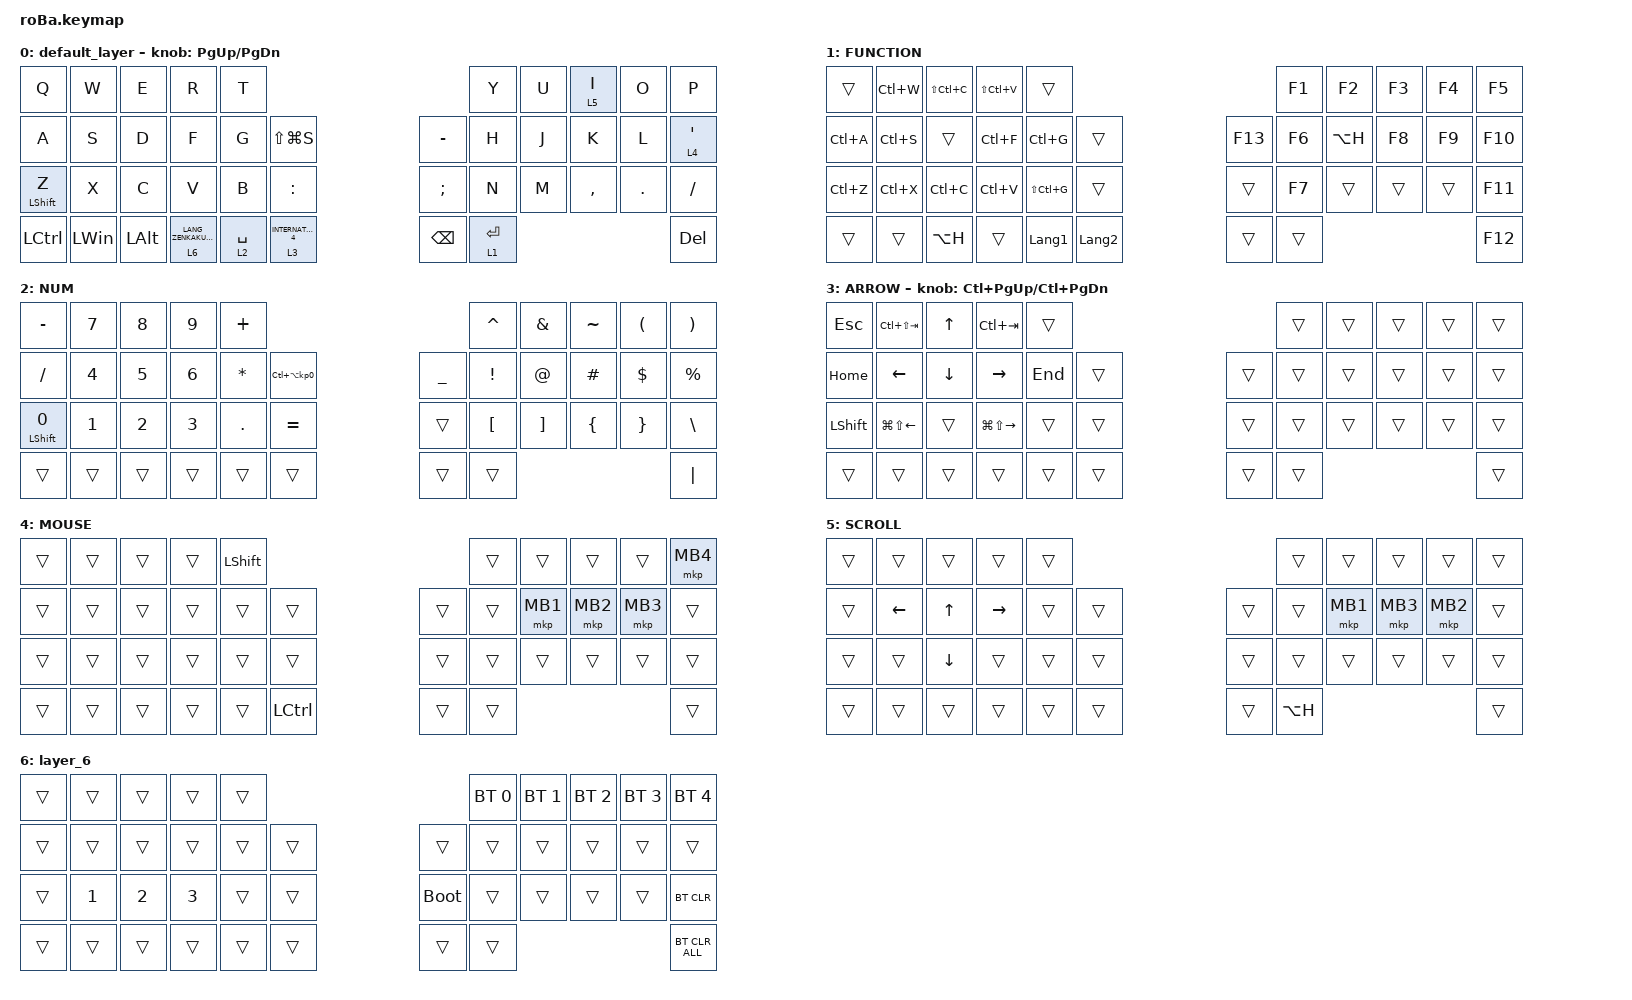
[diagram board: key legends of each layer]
#include <behaviors.dtsi>
#include <dt-bindings/zmk/bt.h>
#include <dt-bindings/zmk/keys.h>
#include <dt-bindings/zmk/pointing.h>

&mt {
    flavor = "balanced";
    quick-tap-ms = <0>;
};

/ {
    combos {
        compatible = "zmk,combos";

        tab {
            bindings = <&kp TAB>;
            key-positions = <11 12>;
        };

        shift_tab {
            bindings = <&kp LS(TAB)>;
            key-positions = <12 13>;
        };

        muhennkann {
            bindings = <&to_layer_0 INT_MUHENKAN>;
            key-positions = <11 10>;
        };

        double_quotation {
            bindings = <&kp DOUBLE_QUOTES>;
            key-positions = <20 21>;
        };

        eq {
            bindings = <&kp EQUAL>;
            key-positions = <24 25>;
        };
    };

    macros {
        to_layer_0: to_layer_0 {
            compatible = "zmk,behavior-macro-one-param";
            #binding-cells = <1>;
            bindings = <&to 0 &macro_param_1to1 &kp MACRO_PLACEHOLDER>;
            label = "TO_LAYER_0";
        };
    };

    behaviors {
        lt_to_layer_0: lt_to_layer_0 {
            compatible = "zmk,behavior-hold-tap";
            label = "LAYER_TAP_TO_0";
            bindings = <&mo>, <&to_layer_0>;

            #binding-cells = <2>;
            tapping-term-ms = <200>;
        };
    };

    keymap {
        compatible = "zmk,keymap";

        default_layer {
            bindings = <
&kp Q             &kp W         &kp E         &kp R                                 &kp T                                                             &kp Y        &kp U  &lt 5 I    &kp O    &kp P
&kp A             &kp S         &kp D         &kp F                                 &kp G        &kp LS(LG(S))                         &kp MINUS      &kp H        &kp J  &kp K      &kp L    &lt_to_layer_0 4 SQT
&mt LEFT_SHIFT Z  &kp X         &kp C         &kp V                                 &kp B        &kp COLON                             &kp SEMICOLON  &kp N        &kp M  &kp COMMA  &kp DOT  &kp SLASH
&kp LCTRL         &kp LEFT_WIN  &kp LEFT_ALT  &lt_to_layer_0 6 LANG_ZENKAKUHANKAKU  &lt 2 SPACE  &lt_to_layer_0 3 INTERNATIONAL_4      &kp BACKSPACE  &lt 1 ENTER                             &kp DEL
            >;

            sensor-bindings = <&inc_dec_kp PG_UP PAGE_DOWN>;
        };

        FUNCTION {
            bindings = <
&trans     &kp LC(W)  &kp LS(LC(C))  &kp LS(LC(V))  &trans                                       &kp F1  &kp F2     &kp F3  &kp F4  &kp F5
&kp LC(A)  &kp LC(S)  &trans         &kp LC(F)      &kp LC(G)       &trans              &kp F13  &kp F6  &kp LA(H)  &kp F8  &kp F9  &kp F10
&kp LC(Z)  &kp LC(X)  &kp LC(C)      &kp LC(V)      &kp LS(LC(G))   &trans              &trans   &kp F7  &trans     &trans  &trans  &kp F11
&trans     &trans     &kp LA(H)      &trans         &kp LANGUAGE_1  &kp LANGUAGE_2      &trans   &trans                             &kp F12
            >;
        };

        NUM {
            bindings = <
&kp MINUS          &kp N7        &kp N8        &kp N9        &kp PLUS                                                   &kp CARET         &kp AMPERSAND      &kp TILDE       &kp LEFT_PARENTHESIS  &kp RIGHT_PARENTHESIS
&kp SLASH          &kp NUMBER_4  &kp N5        &kp NUMBER_6  &kp ASTERISK  &kp LC(LA(KP_NUMBER_0))      &kp UNDERSCORE  &kp EXCLAMATION   &kp AT_SIGN        &kp HASH        &kp DOLLAR            &kp PERCENT
&mt LEFT_SHIFT N0  &kp NUMBER_1  &kp NUMBER_2  &kp NUMBER_3  &kp PERIOD    &kp EQUAL                    &trans          &kp LEFT_BRACKET  &kp RIGHT_BRACKET  &kp LEFT_BRACE  &kp RIGHT_BRACE       &kp BACKSLASH
&trans             &trans        &trans        &trans        &trans        &trans                       &trans          &trans                                                                     &kp PIPE
            >;
        };

        ARROW {
            bindings = <
&kp ESCAPE      &kp LC(LS(TAB))         &kp UP_ARROW    &kp LC(TAB)              &trans                       &trans  &trans  &trans  &trans  &trans
&kp HOME        &kp LEFT_ARROW          &kp DOWN_ARROW  &kp RIGHT_ARROW          &kp END  &trans      &trans  &trans  &trans  &trans  &trans  &trans
&kp LEFT_SHIFT  &kp LG(LS(LEFT_ARROW))  &trans          &kp LG(LS(RIGHT_ARROW))  &trans   &trans      &trans  &trans  &trans  &trans  &trans  &trans
&trans          &trans                  &trans          &trans                   &trans   &trans      &trans  &trans                          &trans
            >;

            sensor-bindings = <&inc_dec_kp LC(PAGE_UP) LC(PAGE_DOWN)>;
        };

        MOUSE {
            bindings = <
&trans  &trans  &trans  &trans  &kp LEFT_SHIFT                         &trans  &trans    &trans    &trans    &mkp MB4
&trans  &trans  &trans  &trans  &trans          &trans         &trans  &trans  &mkp MB1  &mkp MB2  &mkp MB3  &trans
&trans  &trans  &trans  &trans  &trans          &trans         &trans  &trans  &trans    &trans    &trans    &trans
&trans  &trans  &trans  &trans  &trans          &kp LCTRL      &trans  &trans                                &trans
            >;
        };

        SCROLL {
            bindings = <
&trans  &trans    &trans    &trans     &trans                      &trans     &trans    &trans    &trans    &trans
&trans  &kp LEFT  &kp UP    &kp RIGHT  &trans  &trans      &trans  &trans     &mkp MB1  &mkp MB3  &mkp MB2  &trans
&trans  &trans    &kp DOWN  &trans     &trans  &trans      &trans  &trans     &trans    &trans    &trans    &trans
&trans  &trans    &trans    &trans     &trans  &trans      &trans  &kp LA(H)                                &trans
            >;
        };

        layer_6 {
            bindings = <
&trans  &trans        &trans        &trans        &trans                           &bt BT_SEL 0  &bt BT_SEL 1  &bt BT_SEL 2  &bt BT_SEL 3  &bt BT_SEL 4
&trans  &trans        &trans        &trans        &trans  &trans      &trans       &trans        &trans        &trans        &trans        &trans
&trans  &kp NUMBER_1  &kp NUMBER_2  &kp NUMBER_3  &trans  &trans      &bootloader  &trans        &trans        &trans        &trans        &bt BT_CLR
&trans  &trans        &trans        &trans        &trans  &trans      &trans       &trans                                                  &bt BT_CLR_ALL
            >;
        };
    };
};
